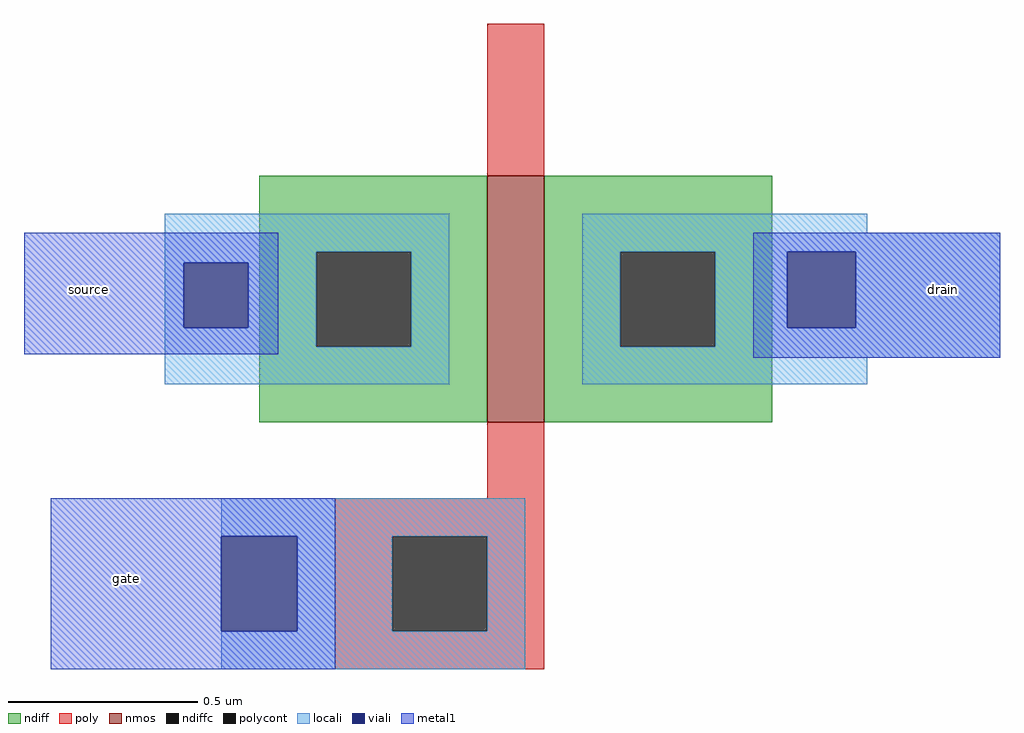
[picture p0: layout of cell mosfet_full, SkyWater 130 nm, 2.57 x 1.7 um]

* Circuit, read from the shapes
.subckt mosfet_full drain gate source
XM1 drain gate source VSUBS sky130_fd_pr__nfet_01v8 w=0.65 l=0.15
.ends

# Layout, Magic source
magic
tech sky130A
<< nmos >>
rect 35 -5 50 60
<< ndiff >>
rect -25 40 35 60
rect -25 15 -10 40
rect 15 15 35 40
rect -25 -5 35 15
rect 50 40 110 60
rect 50 15 70 40
rect 95 15 110 40
rect 50 -5 110 15
<< ndiffc >>
rect -10 15 15 40
rect 70 15 95 40
<< poly >>
rect 35 60 50 100
rect 35 -25 50 -5
rect -5 -35 50 -25
rect -5 -60 10 -35
rect 35 -60 50 -35
rect -5 -70 50 -60
<< polycont >>
rect 10 -60 35 -35
<< locali >>
rect -50 40 25 50
rect -50 37 -10 40
rect -50 20 -45 37
rect -28 20 -10 37
rect -50 15 -10 20
rect 15 15 25 40
rect -50 5 25 15
rect 60 45 135 50
rect 60 40 170 45
rect 60 15 70 40
rect 95 20 114 40
rect 132 20 170 40
rect 95 15 170 20
rect 60 12 170 15
rect 60 5 135 12
rect -35 -35 45 -25
rect -15 -60 10 -35
rect 35 -60 45 -35
rect -35 -70 45 -60
<< viali >>
rect -45 20 -28 37
rect 114 20 132 40
rect -35 -60 -15 -35
<< metal1 >>
rect -87 37 -20 45
rect -87 20 -45 37
rect -28 20 -20 37
rect -87 13 -20 20
rect 105 40 170 45
rect 105 20 114 40
rect 132 20 170 40
rect 105 12 170 20
rect -80 -35 -5 -25
rect -80 -60 -35 -35
rect -15 -60 -5 -35
rect -80 -70 -5 -60
<< labels >>
rlabel metal1 -80 20 -60 40 1 source
rlabel metal1 145 20 165 40 1 drain
rlabel metal1 -70 -56 -50 -36 1 gate
<< end >>
